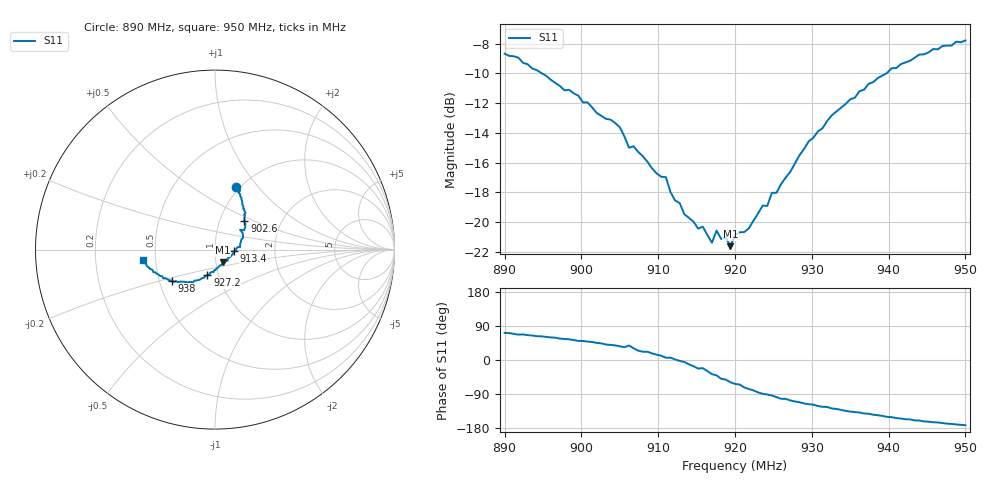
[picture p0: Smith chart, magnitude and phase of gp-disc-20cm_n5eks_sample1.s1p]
# HZ S RI R 50
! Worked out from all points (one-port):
!   101 points, 890 MHz to 950 MHz, reference 50 ohm
!   lowest |S11| = -21.6 dB at 919.4 MHz (marker M1), VSWR 1.18, Z = 54 - j7.7 ohm
!   |S11| at or under -10 dB: 894.9 MHz to 939.7 MHz (44.86 MHz wide, 4.89 % of centre)
!   S11 on the Smith chart (normalised r, x): 890 MHz: 0.96, +0.77; 902.6 MHz: 1.31, +0.44; 913.4 MHz: 1.24, -0.02; 927.2 MHz: 0.88, -0.26; 938 MHz: 0.58, -0.22; 950 MHz: 0.42, -0.06
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8.9e8  0.1166 0.3492
8.918e8  0.1399 0.3285
8.978e8  0.1568 0.2286
8.996e8  0.1701 0.2047
9.026e8  0.1642 0.1576
9.05e8  0.1681 0.1233
9.062e8  0.1398 0.1101
9.068e8  0.1542 0.0926
9.098e8  0.1415 0.0353
9.11e8  0.1408 0.0148
9.116e8  0.1255 0.0137
9.128e8  0.1158 -0.0047
9.134e8  0.1059 -0.00966
9.152e8  0.0879 -0.0364
9.158e8  0.0899 -0.0355
9.17e8  0.0678 -0.0518
9.176e8  0.0713 -0.0608
9.194e8  0.0433 -0.0709
9.2e8  0.0409 -0.0807
9.218e8  0.0221 -0.0928
9.248e8  -0.00791 -0.1252
9.272e8  -0.0423 -0.1415
9.278e8  -0.0525 -0.1484
9.296e8  -0.0838 -0.1671
9.35e8  -0.1865 -0.1792
9.38e8  -0.2401 -0.1723
9.428e8  -0.3203 -0.1372
9.5e8  -0.4039 -0.0573
